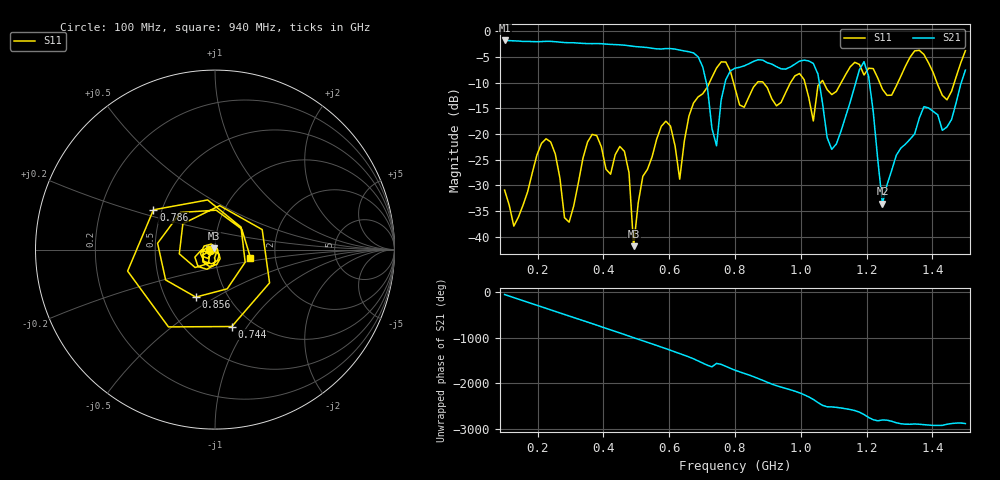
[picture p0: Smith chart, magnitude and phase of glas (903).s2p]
! NanoVNA-App
! Date: 2025-09-25 16:02:30
! Start: 100MHz Stop: 1,5GHz Points: 101
! S-Parameter data: F S11 S21 S12 S22
# Hz S RI R 50
!  Frequency  S11_Real  S11_Imag  S21_Real  S21_Imag  S12_Real  S12_Imag  S22_Real  S22_Imag
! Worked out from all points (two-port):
!   101 points, 100 MHz to 1.5 GHz, reference 50 ohm
!   highest |S21| = -1.80 dB at 100 MHz (marker M1); lowest = -33.5 dB at 1.248 GHz (marker M2)
!   |S21| within 3 dB of the highest: start of sweep to 684.5 MHz
!   lowest |S11| = -41.8 dB at 492 MHz (marker M3), VSWR 1.02, Z = 49.5 + j0.616 ohm
!   |S11| at or under -10 dB: start of sweep to 722.5 MHz; 795.5 MHz to 867.7 MHz (72.21 MHz wide, 8.68 % of centre); 885.9 MHz to 968.7 MHz (82.81 MHz wide, 8.93 % of centre) (the widest 3 of 7)
!   S12 and S22 are empty: the file has one direction only
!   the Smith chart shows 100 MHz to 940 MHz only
!   S11 on the Smith chart (normalised r, x): 100 MHz: 0.94, -0.01; 744 MHz: 0.80, -0.85; 786 MHz: 0.45, +0.24; 856 MHz: 0.71, -0.41; 940 MHz: 1.48, -0.14
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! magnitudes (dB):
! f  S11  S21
! 100 MHz  -30.9  -1.8
! 128 MHz  -37.9  -1.9
! 226 MHz  -20.9  -2.0
! 296 MHz  -37.1  -2.2
! 338 MHz  -24.7  -2.4
! 464 MHz  -23.4  -2.7
! 492 MHz  -41.8  -3.0
! 576 MHz  -18.5  -3.5
! 632 MHz  -28.8  -3.7
! 702 MHz  -12.2  -7.0
! 744 MHz  -7.2  -22.3
! 786 MHz  -7.8  -7.7
! 800 MHz  -11.1  -7.2
! 856 MHz  -10.9  -5.9
! 940 MHz  -13.9  -7.3
! 996 MHz  -8.2  -5.8
! 1.038 GHz  -17.5  -6.3
! 1.094 GHz  -12.3  -23.0
! 1.192 GHz  -8.5  -5.9
! 1.248 GHz  -11.3  -33.5
! 1.276 GHz  -12.4  -27.1
! 1.5 GHz  -3.8  -7.6
